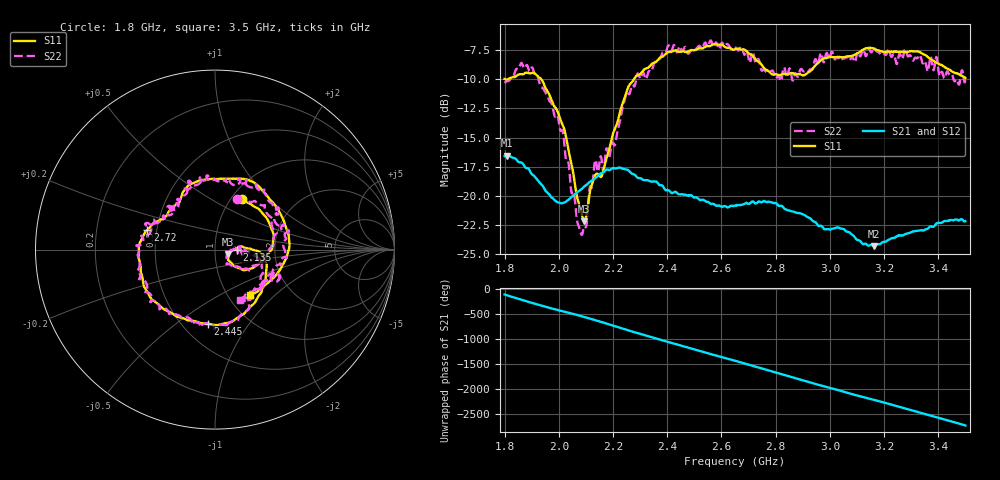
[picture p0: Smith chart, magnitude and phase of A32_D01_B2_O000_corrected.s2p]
! Created with skrf 1.9.0 (http://scikit-rf.org).
# Hz S RI R 50.0
!freq ReS11 ImS11 ReS21 ImS21 ReS12 ImS12 ReS22 ImS22
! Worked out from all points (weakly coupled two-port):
!   1601 points, 1.8 GHz to 3.5 GHz, reference 50 ohm
!   highest |S21| = -16.54 dB at 1.808 GHz (marker M1); lowest = -24.3 dB at 3.162 GHz (marker M2)
!   lowest |S11| = -22.2 dB at 2.093 GHz (marker M3), VSWR 1.17, Z = 57.9 - j2.89 ohm
!   |S11| at or under -10 dB: 1.804045 GHz to 1.811415 GHz (7.37 MHz wide, 0.408 % of centre); 1.936 GHz to 2.277 GHz (341.2 MHz wide, 16.2 % of centre)
!   |S22| runs from -23.3 to -6.7 dB; largest |S21 - S12| = 0.0029
!   S11 on the Smith chart (normalised r, x): 1.8 GHz: 1.12, +0.70; 2.135 GHz: 1.28, -0.00; 2.445 GHz: 0.66, -0.66; 2.72 GHz: 0.44, +0.11; 3.5 GHz: 1.26, -0.71
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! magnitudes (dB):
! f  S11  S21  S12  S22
! 1.8 GHz  -10.0  -16.6  -16.6  -10.3
! 1.808 GHz  -10.0  -16.5  -16.6  -10.1
! 1.881 GHz  -9.4  -17.6  -17.6  -8.8
! 1.967 GHz  -11.4  -19.9  -20.0  -11.9
! 2.021 GHz  -14.4  -20.6  -20.6  -15.7
! 2.071 GHz  -20.4  -19.6  -19.7  -22.4
! 2.084 GHz  -21.4  -19.4  -19.4  -23.3
! 2.093 GHz  -22.2  -19.2  -19.3  -22.6
! 2.135 GHz  -18.2  -18.5  -18.5  -16.9
! 2.16 GHz  -18.2  -18.0  -18.0  -17.3
! 2.207 GHz  -14.2  -17.6  -17.6  -15.6
! 2.26 GHz  -10.5  -17.9  -17.9  -11.3
! 2.367 GHz  -8.3  -19.0  -18.9  -8.3
! 2.445 GHz  -7.6  -19.9  -19.9  -7.2
! 2.65 GHz  -7.4  -20.8  -20.8  -7.3
! 2.72 GHz  -8.1  -20.5  -20.5  -8.0
! 2.814 GHz  -9.6  -20.9  -20.8  -9.8
! 2.934 GHz  -9.2  -22.1  -22.1  -9.2
! 3.162 GHz  -7.4  -24.3  -24.3  -7.3
! 3.217 GHz  -7.6  -23.8  -23.7  -7.5
! 3.328 GHz  -7.6  -23.0  -23.0  -8.0
! 3.5 GHz  -9.9  -22.2  -22.2  -10.1
